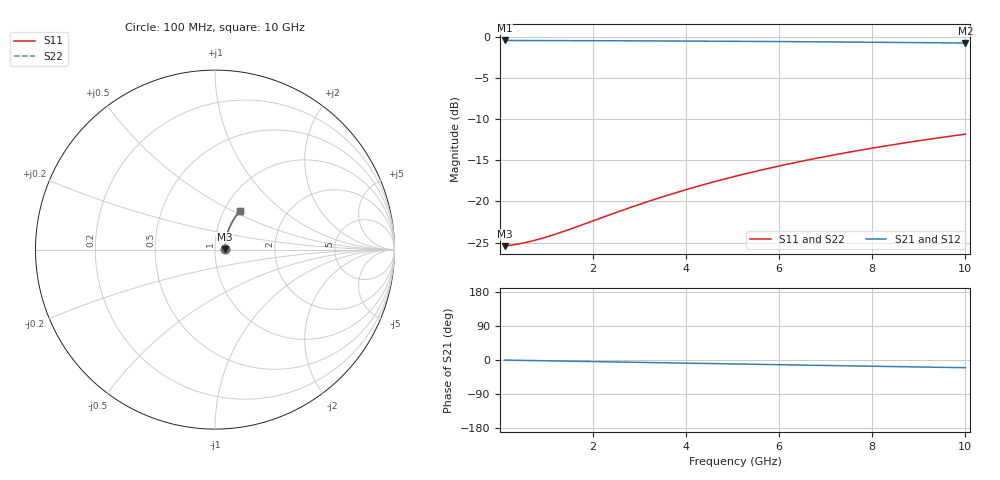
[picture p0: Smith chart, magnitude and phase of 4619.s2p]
# Hz S RI R 50.00
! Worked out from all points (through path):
!   100 points, 100 MHz to 10 GHz, reference 50 ohm
!   highest |S21| = -0.48 dB at 100 MHz (marker M1); lowest = -0.8 dB at 10 GHz (marker M2)
!   group delay of S21, straight-line fit = 5.67 ps
!   lowest |S11| = -25.4 dB at 100 MHz (marker M3), VSWR 1.11, Z = 55.7 + j0.271 ohm
!   |S11| at or under -10 dB: start of sweep to end of sweep
!   |S22| runs from -25.4 to -11.8 dB; largest |S21 - S12| = 0
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1e8  0.0535 0.00242  0.9465 -0.00345  0.9465 -0.00345  0.0535 0.00242
3e8  0.0541 0.00726  0.9458 -0.0103  0.9458 -0.0103  0.0541 0.00726
5e8  0.0546 0.0121  0.9453 -0.0172  0.9453 -0.0172  0.0546 0.0121
8e8  0.0554 0.0193  0.9446 -0.0275  0.9446 -0.0275  0.0554 0.0193
1e9  0.0559 0.0241  0.944 -0.0344  0.944 -0.0344  0.0559 0.0241
1.2e9  0.0565 0.0289  0.9434 -0.0412  0.9434 -0.0412  0.0565 0.0289
1.5e9  0.0574 0.0361  0.9424 -0.0515  0.9424 -0.0515  0.0574 0.0361
1.8e9  0.0585 0.0432  0.9413 -0.0617  0.9413 -0.0617  0.0585 0.0432
2.7e9  0.0625 0.0645  0.9371 -0.0922  0.9371 -0.0922  0.0625 0.0645
3.1e9  0.0647 0.0738  0.9348 -0.1056  0.9348 -0.1056  0.0647 0.0738
3.4e9  0.0665 0.0808  0.9329 -0.1156  0.9329 -0.1156  0.0665 0.0808
3.8e9  0.0691 0.0899  0.9301 -0.1289  0.9301 -0.1289  0.0691 0.0899
4.2e9  0.072 0.099  0.927 -0.1421  0.927 -0.1421  0.072 0.099
4.6e9  0.0751 0.108  0.9237 -0.1552  0.9237 -0.1552  0.0751 0.108
5.1e9  0.0793 0.1191  0.9192 -0.1714  0.9192 -0.1714  0.0793 0.1191
5.5e9  0.083 0.1278  0.9153 -0.1842  0.9153 -0.1842  0.083 0.1278
5.9e9  0.0869 0.1363  0.9112 -0.1969  0.9112 -0.1969  0.0869 0.1363
6.7e9  0.0954 0.1531  0.9022 -0.2218  0.9022 -0.2218  0.0954 0.1531
7.5e9  0.1047 0.1692  0.8922 -0.2462  0.8922 -0.2462  0.1047 0.1692
8.4e9  0.1161 0.1865  0.88 -0.2728  0.88 -0.2728  0.1161 0.1865
9.2e9  0.1271 0.2011  0.8682 -0.2957  0.8682 -0.2957  0.1271 0.2011
1e10  0.1388 0.215  0.8557 -0.3178  0.8557 -0.3178  0.1388 0.215
